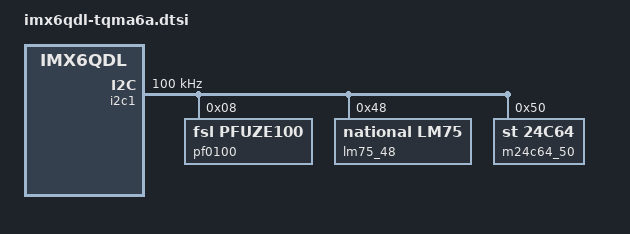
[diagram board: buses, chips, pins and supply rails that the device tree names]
// SPDX-License-Identifier: GPL-2.0-or-later
/*
 * Copyright 2013 Sascha Hauer, Pengutronix
 *
 * Copyright 2013-2017 TQ Systems GmbH
 * Author: Markus Niebel <Markus.Niebel@tq-group.com>
 */

&i2c1 {
	pinctrl-names = "default";
	pinctrl-0 = <&pinctrl_i2c1_tqma6>;
	clock-frequency = <100000>;
	status = "okay";

	pf0100: pmic@8 {
		compatible = "fsl,pfuze100";
		reg = <0x8>;
	};

	lm75_48: temperature-sensor@48 {
		compatible = "national,lm75";
		reg = <0x48>;
	};

	m24c64_50: eeprom@50 {
		compatible = "st,24c64", "atmel,24c64";
		reg = <0x50>;
		pagesize = <32>;
	};
};
